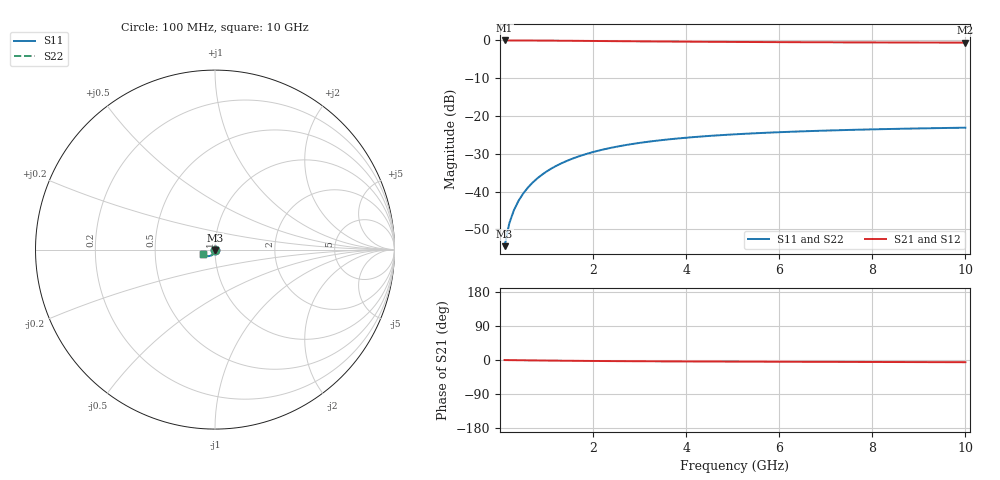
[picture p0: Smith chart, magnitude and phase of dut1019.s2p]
! Touchstone file exported from HFSS 2024.1.0
!  File:  C:/UserFiles/LocalFiles/RDL_TSV_Batchsim/temp_TSV1_1019_1780059608.aedt
!  Generated:  09:05:38 PM May 29, 2026
!  Design:  TSV1
!  Project:  temp_TSV1_1019_1780059608
!  Setup:  Setup1
!  Solution:  Sweep
! Variables:
!  dtsv = 13.23um
!  hbump = 3um
!  htsv = 89.97um
!  lrdl = 252.1521522um
!  p = 40
!  p1 = 44.68um
!  t = 500um
!  trdl = 3um
!  wrdl = 24.89489489um
# GHz S MA R 50.000000
! Terminal data exported
! Port[1] = TSV22_T1
! Port[2] = TSV22_T2
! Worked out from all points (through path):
!   100 points, 100 MHz to 10 GHz, reference 50 ohm
!   highest |S21| = 0.00 dB at 100 MHz (marker M1); lowest = -0.6 dB at 10 GHz (marker M2)
!   lowest |S11| = -54.4 dB at 100 MHz (marker M3), VSWR 1.00, Z = 50 - j0.19 ohm
!   |S11| at or under -10 dB: start of sweep to end of sweep
!   |S22| runs from -54.4 to -23.1 dB; largest |S21 - S12| = 7.2e-15
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0.1  0.0019 -88.6  0.9998 -0.2  0.9998 -0.2  0.0019 -88.6
! Gamma 0 0 0 0
! Port Impedance 50 0 50 0
0.2  0.003798 -91.5  0.9997 -0.3  0.9997 -0.3  0.003798 -91.5
0.3  0.005696 -93.4  0.9994 -0.5  0.9994 -0.5  0.005696 -93.4
0.4  0.007585 -95.2  0.999 -0.6  0.999 -0.6  0.007585 -95.2
0.5  0.00946 -96.9  0.9985 -0.8  0.9985 -0.8  0.00946 -96.9
0.6  0.01131 -98.5  0.998 -0.9  0.998 -0.9  0.01131 -98.5
0.7  0.01314 -100.1  0.9974 -1.0  0.9974 -1.0  0.01314 -100.1
0.8  0.01494 -101.7  0.9967 -1.2  0.9967 -1.2  0.01494 -101.7
0.9  0.01671 -103.2  0.9959 -1.3  0.9959 -1.3  0.01671 -103.2
1.1  0.02013 -106.2  0.9941 -1.6  0.9941 -1.6  0.02013 -106.2
1.4  0.02495 -110.4  0.9911 -1.9  0.9911 -1.9  0.02495 -110.4
1.6  0.02794 -113.0  0.989 -2.2  0.989 -2.2  0.02794 -113.0
1.8  0.03076 -115.5  0.9867 -2.4  0.9867 -2.4  0.03076 -115.5
2.1  0.03465 -119.0  0.9833 -2.6  0.9833 -2.6  0.03465 -119.0
2.5  0.03924 -123.3  0.9787 -3.0  0.9787 -3.0  0.03924 -123.3
2.9  0.04323 -127.1  0.9743 -3.2  0.9743 -3.2  0.04323 -127.1
3.4  0.04747 -131.2  0.9692 -3.5  0.9692 -3.5  0.04747 -131.2
4.2  0.0529 -136.8  0.9621 -3.9  0.9621 -3.9  0.0529 -136.8
5.1  0.05755 -141.7  0.9555 -4.3  0.9555 -4.3  0.05755 -141.7
6.7  0.06337 -148.4  0.9467 -4.8  0.9467 -4.8  0.06337 -148.4
8.4  0.06747 -153.6  0.9402 -5.3  0.9402 -5.3  0.06747 -153.6
10  0.07015 -157.4  0.9359 -5.8  0.9359 -5.8  0.07015 -157.4
